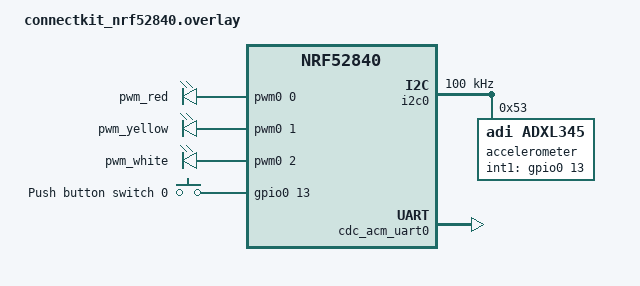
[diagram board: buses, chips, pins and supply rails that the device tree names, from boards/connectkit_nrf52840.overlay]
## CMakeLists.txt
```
# SPDX-License-Identifier: Apache-2.0

cmake_minimum_required(VERSION 3.20.0)
find_package(Zephyr REQUIRED HINTS $ENV{ZEPHYR_BASE})
project(iso_receive)

target_sources(app PRIVATE
    src/main.c
    src/ble.c
    src/led.c
    src/accel.c
)
```

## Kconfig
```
# Copyright (c) 2023 Nordic Semiconductor ASA
# SPDX-License-Identifier: Apache-2.0

source "Kconfig.zephyr"

mainmenu "Bluetooth: ISO Receive"

config ISO_ALIGN_PRINT_INTERVALS
	bool "Align report interval with incoming packets"
	help
	  Align interval-counter with packet number from incoming ISO packets.
	  This may be needed if report printouts are to be synchronized between
	  the iso_broadcast sample and the iso_receive sample.

config TTL_SHUTDOWN_TIMEOUT_SEC
	int "Shutdown timeout in seconds"
	default 600
	help
	  Define the shutdown timeout interval in seconds

config TTL_STATE_PRINT_INTERVAL
	int "Interval between each packet report in ISO packets"
	range 1 1000
	default 100
	help
	  Only print the ttl state report after each N packet.
```

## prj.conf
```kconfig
# enable logging
CONFIG_LOG=y
CONFIG_LOG_BUFFER_SIZE=4096

# enable BLE with extended periodic observer
CONFIG_BT=y
CONFIG_BT_DEVICE_NAME="TTL Receiver"
CONFIG_BT_ISO_SYNC_RECEIVER=y
CONFIG_BT_ISO_MAX_CHAN=1

# Configuration for LED PWM solution
CONFIG_GPIO=y
CONFIG_PWM=y
CONFIG_PWM_LOG_LEVEL_DBG=y

# Enable power management, shutdown, and reboot
CONFIG_PM_DEVICE=y
CONFIG_POWEROFF=y
CONFIG_REBOOT=y

# Configuration the shutdown timeout
CONFIG_TTL_SHUTDOWN_TIMEOUT_SEC=10
CONFIG_TTL_STATE_PRINT_INTERVAL= 50
```

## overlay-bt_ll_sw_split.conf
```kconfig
CONFIG_BT_CTLR_SYNC_ISO=y
CONFIG_BT_CTLR_SYNC_ISO_PDU_LEN_MAX=251
CONFIG_BT_CTLR_SYNC_ISO_STREAM_MAX=1
CONFIG_BT_CTLR_ISOAL_SINKS=1
```

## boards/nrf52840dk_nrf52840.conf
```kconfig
#https://devzone.nordicsemi.com/f/nordic-q-a/80835/how-to-configure-low-frequency-external-source-in-zephyr
# activate for the internal RC oscillator
CONFIG_CLOCK_CONTROL_NRF_K32SRC_RC=y
CONFIG_CLOCK_CONTROL_NRF_K32SRC_RC_CALIBRATION=y
CONFIG_CLOCK_CONTROL_NRF_K32SRC_500PPM=q

# activate the external crystal
#CONFIG_CLOCK_CONTROL_NRF_K32SRC_XTAL=y
#CONFIG_CLOCK_CONTROL_NRF_K32SRC_20PPM=y
```

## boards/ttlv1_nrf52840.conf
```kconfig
#CONFIG_CLOCK_CONTROL_NRF_K32SRC_RC=y

#https://devzone.nordicsemi.com/f/nordic-q-a/80835/how-to-configure-low-frequency-external-source-in-zephyr
```

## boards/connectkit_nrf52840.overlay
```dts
/*
 * Copyright (c) 2016-2023 Makerdiary
 *
 * SPDX-License-Identifier: Apache-2.0
 */

// remove existing pwm LEDs dt configuration
/ {
	aliases {
		/delete-property/ sw0;
		/delete-property/ mcuboot-button0;
		/delete-property/ mcuboot-led0;

		/delete-property/ led0;
		/delete-property/ led1;
		/delete-property/ led2;
		/delete-property/ led3;
		/delete-property/ led0-green;
		/delete-property/ led1-red;
		/delete-property/ led1-green;
		/delete-property/ led1-blue;
		/delete-property/ pwm-led0;
		/delete-property/ pwm-led1;
		/delete-property/ pwm-led2;
		/delete-property/ pwm-led3;
		/delete-property/ red-pwm-led;
		/delete-property/ green-pwm-led;
		/delete-property/ blue-pwm-led;
	};
	/delete-node/ pwmleds;
	/delete-node/ buttons;
};

// create new configuration
/ {
	pwmleds {
		compatible = "pwm-leds";
		pwm_red: pwm_led0 {
			pwms = <&pwm0 0 PWM_SEC(1) PWM_POLARITY_NORMAL>;
		};
		pwm_yellow: pwm_led1 {
			pwms = <&pwm0 1 PWM_SEC(1) PWM_POLARITY_NORMAL>;
		};
		pwm_white: pwm_led2 {
			pwms = <&pwm0 2 PWM_SEC(1) PWM_POLARITY_NORMAL>;
		};
	};
};	

&pwm0_default {
	// use GPIO pins which are also available on the DONGLE
	group1 {
		psels = 
			<NRF_PSEL(PWM_OUT0, 0, 6)>, 
			<NRF_PSEL(PWM_OUT1, 0, 7)>,
			<NRF_PSEL(PWM_OUT2, 0, 8)>;
		
		// remove nordic,invert property,
		// otherwise the GPIO will be high if the PWM is disconnected
		/delete-property/ nordic,invert;
	};
};


/* 
 * ADXL345 on I2C
 * We use the alternative 7-bit I2C address: 0x53
 * Furthermore, we use the following pins for I2C
 *   - SCL: P0.22
 *   - SDA: P0.24
*/
&i2c0 {
	status = "okay";
	clock-frequency = <I2C_BITRATE_STANDARD>;
	accelerometer: adxl345@53 {
		compatible="adi,adxl345";
		reg=<0x53>;
		frequency=<100>;
		range=<16>;
		fifo=<0>;
		int1-gpios=<&gpio0 13 GPIO_ACTIVE_HIGH>;
	};
};

&i2c0_default {
	group1 {
		psels = <NRF_PSEL(TWIM_SCL, 0, 15)>,
				<NRF_PSEL(TWIM_SDA, 0, 16)>;
	};
};

/ {
		buttons {
		compatible = "gpio-keys";
		reboot_pin: reboot_pin {
			gpios = < &gpio0 13 (GPIO_PULL_DOWN | GPIO_ACTIVE_HIGH)>;
			label = "Push button switch 0";
		};
	};
};

/ {
  chosen {
      zephyr,console = &cdc_acm_uart0;
  };
};

&zephyr_udc0 {
  cdc_acm_uart0: cdc_acm_uart0 {
      compatible = "zephyr,cdc-acm-uart";
  };
};

// use low power mode (PFM) of regulator
// change regulator GPIO polarity to active low (0 = active high, 1 = active low)
//&tps63802_force_pwm_mode {
//    enable-gpios = <&gpio1 13 GPIO_ACTIVE_LOW>;
//};
```

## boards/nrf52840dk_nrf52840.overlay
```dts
/*
 * Copyright (c) 2019, Nordic Semiconductor ASA
 *
 * SPDX-License-Identifier: Apache-2.0
 */

// remove existing pwm LEDs dt configuration
// remove buttons to avoid interference 
/ {
	aliases {
		/delete-property/ pwm-led0;		
		/delete-property/ sw0;
		/delete-property/ sw1;
		/delete-property/ sw2;
		/delete-property/ sw3;
		/delete-property/ mcuboot-button0;
	};
	/delete-node/ pwmleds;
	/delete-node/ buttons;
};

// create new configuration
/ {
	pwmleds {
		compatible = "pwm-leds";
		pwm_drive: pwm_led0 {
			pwms = <&pwm0 0 PWM_SEC(1) PWM_POLARITY_NORMAL>;
		};
		pwm_break: pwm_led1 {
			pwms = <&pwm0 1 PWM_SEC(1) PWM_POLARITY_NORMAL>;
		};
		pwm_turn: pwm_led2 {
			pwms = <&pwm0 2 PWM_SEC(1) PWM_POLARITY_NORMAL>;
		};
	};
};	


&pwm0_default {
	// use GPIO pins which are also available on the DONGLE
	group1 {
		psels = 
			<NRF_PSEL(PWM_OUT0, 0, 13)>, 
			<NRF_PSEL(PWM_OUT1, 0, 14)>,
			<NRF_PSEL(PWM_OUT2, 0, 15)>;
		
		// remove nordic,invert property,
		// otherwise the GPIO will be high if the PWM is disconnected
		// /delete-property/ nordic,invert;
	};
};

/ {
		buttons {
		compatible = "gpio-keys";
		reboot_pin: reboot_pin {
			gpios = < &gpio1 0 (GPIO_PULL_DOWN | GPIO_ACTIVE_HIGH)>;
			label = "Push button switch 0";
		};

		booster_pin: booster_pin {
			gpios = < &gpio0 17 (GPIO_PULL_DOWN | GPIO_ACTIVE_HIGH)>;
			label = "Enable booster";
		};
	};
};
```

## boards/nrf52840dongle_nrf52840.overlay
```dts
/*
 * Copyright (c) 2019, Nordic Semiconductor ASA
 *
 * SPDX-License-Identifier: Apache-2.0
 */

// remove existing pwm LEDs dt configuration
/ {
	aliases {
		/delete-property/ pwm-led0;
		/delete-property/ pwm-led1;
		/delete-property/ pwm-led2;
		/delete-property/ red-pwm-led;
		/delete-property/ green-pwm-led;
		/delete-property/ blue-pwm-led;
		/delete-property/ green_pwm_led;
		
		/delete-property/ sw0;
		/delete-property/ sw1;
		/delete-property/ sw2;
		/delete-property/ sw3;
		/delete-property/ mcuboot-button0;
	};
	/delete-node/ pwmleds;
	/delete-node/ buttons;
};

// create new configuration
/ {
	pwmleds {
		compatible = "pwm-leds";
		pwm_red: pwm_led0 {
			pwms = <&pwm0 0 PWM_SEC(1) PWM_POLARITY_NORMAL>;
		};
		pwm_yellow: pwm_led1 {
			pwms = <&pwm0 1 PWM_SEC(1) PWM_POLARITY_NORMAL>;
		};
		pwm_white: pwm_led2 {
			pwms = <&pwm0 2 PWM_SEC(1) PWM_POLARITY_NORMAL>;
		};
	};
};	

&pwm0_default {
	// use GPIO pins which are also available on the DONGLE
	group1 {
		psels = 
			<NRF_PSEL(PWM_OUT0, 1, 10)>, 
			<NRF_PSEL(PWM_OUT1, 1, 13)>,
			<NRF_PSEL(PWM_OUT2, 1, 15)>;
		
		// remove nordic,invert property,
		// otherwise the GPIO will be high if the PWM is disconnected
		/delete-property/ nordic,invert;
	};
};


/* 
 * ADXL345 on I2C
 * We use the alternative 7-bit I2C address: 0x53
 * Furthermore, we use the following pins for I2C
 *   - SCL: P0.22
 *   - SDA: P0.24
*/
&i2c0 {
	status = "okay";
	clock-frequency = <I2C_BITRATE_STANDARD>;
	accelerometer: adxl345@53 {
		compatible="adi,adxl345";
		reg=<0x53>;
		frequency=<100>;
		range=<16>;
		fifo=<0>;
		int1-gpios=<&gpio0 13 GPIO_ACTIVE_HIGH>;
	};
};

&i2c0_default {
	group1 {
		psels = <NRF_PSEL(TWIM_SCL, 0, 22)>,
				<NRF_PSEL(TWIM_SDA, 0, 24)>;
	};
};

/ {
		buttons {
		compatible = "gpio-keys";
		reboot_pin: reboot_pin {
			gpios = < &gpio0 13 (GPIO_PULL_DOWN | GPIO_ACTIVE_HIGH)>;
			label = "Push button switch 0";
		};
	};
};
```

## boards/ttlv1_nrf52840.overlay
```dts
/*
 * Copyright (c) 2019, Nordic Semiconductor ASA
 *
 * SPDX-License-Identifier: Apache-2.0
 */

// remove existing pwm LEDs dt configuration
// remove buttons to avoid interference 
/ {
	aliases {
		/delete-property/ pwm-led0;		
		/delete-property/ sw0;
		/delete-property/ sw1;
		/delete-property/ sw2;
		/delete-property/ sw3;
		/delete-property/ mcuboot-button0;
	};
	/delete-node/ pwmleds;
	/delete-node/ buttons;
};

// create new configuration
/ {
	pwmleds {
		compatible = "pwm-leds";
		pwm_drive: pwm_led0 {
			pwms = <&pwm0 0 PWM_SEC(1) PWM_POLARITY_NORMAL>;
		};
		pwm_break: pwm_led1 {
			pwms = <&pwm0 1 PWM_SEC(1) PWM_POLARITY_NORMAL>;
		};
		pwm_turn: pwm_led2 {
			pwms = <&pwm0 2 PWM_SEC(1) PWM_POLARITY_NORMAL>;
		};
	};
};	

&pwm0_default {
	// use GPIO pins which are also available on the DONGLE
	group1 {
		psels = 
			<NRF_PSEL(PWM_OUT0, 0, 10)>, 
			<NRF_PSEL(PWM_OUT1, 1, 5)>,
			<NRF_PSEL(PWM_OUT2, 1, 6)>;
		
		// remove nordic,invert property,
		// otherwise the GPIO will be high if the PWM is disconnected
		/delete-property/ nordic,invert;
	};
};

// define the reboot/wakeup IO pin
/ {
		buttons {
		compatible = "gpio-keys";
		reboot_pin: reboot_pin {
			gpios = < &gpio0 16 (GPIO_PULL_UP | GPIO_ACTIVE_LOW)>;
			label = "Restart TTL Receiver";
		};

		booster_pin: booster_pin {
			gpios = < &gpio1 1 (GPIO_PULL_DOWN | GPIO_ACTIVE_HIGH)>;
			label = "Enable booster";
		};
	};
};
```

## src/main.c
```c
#include <stdint.h>
#include <zephyr/drivers/gpio.h>
#include <zephyr/drivers/sensor.h>
#include <zephyr/kernel.h>
#include <zephyr/logging/log.h>
#include <zephyr/sys/poweroff.h>
#include <zephyr/sys/reboot.h>

#include "ble.h"
#include "led.h"
#include "ttl.h"

LOG_MODULE_REGISTER(ttl_main, LOG_LEVEL_INF);

/**
 * @brief Reset pin, used by spring resistor to wakeup the boot
 */
static const struct gpio_dt_spec reboot_pin =
    GPIO_DT_SPEC_GET(DT_NODELABEL(reboot_pin), gpios);

/**
 * @brief Reset pin, used by the accelerometer to wakeup the boot
 */
static const struct gpio_dt_spec booster_enable_pin =
    GPIO_DT_SPEC_GET(DT_NODELABEL(booster_pin), gpios);

/**
 * @brief Overwrite ASSERT handler
 * @param reason - The reason for the fatal error
 * @param esf    - Exception context, with details and partial or full register
 *                 state when the error occurred. May in some cases be NULL.
 */
void k_sys_fatal_error_handler(unsigned int reason, const z_arch_esf_t *esf) {
  ARG_UNUSED(esf);
  LOG_ERR("Assert received, reboot system");
  sys_reboot(SYS_REBOOT_COLD);
  CODE_UNREACHABLE; /* LCOV_EXCL_LINE */
}

/**
 * @brief Power down TTL to save energy.
 * This function activates the acceleration monitoring and wakeups the MCU once
 * a movement is recognized.
 */
static int ttl_power_down() {
  int err;

  // stop all components
  ttl_ble_terminate();
  ttl_led_terminate();
  LOG_INF("Shutting down the system");

  // disable booster for leds
  err = gpio_pin_set_dt(&booster_enable_pin, 0);
  if (err < 0) {
    LOG_ERR("Could not enable booster GPIO (%d)\n", err);
    return TTL_ERR;
  }

  // wait some time before shuting down the system
  k_msleep(2000);

  // overwrite gpio interrupt pin config to be a user wakeup pin
  err = gpio_pin_configure_dt(&reboot_pin, GPIO_INPUT);
  if (err < 0) {
    LOG_ERR("Could not configure sw0 GPIO (%d)\n", err);
    return TTL_ERR;
  }

  err = gpio_pin_interrupt_configure_dt(&reboot_pin, GPIO_INT_LEVEL_ACTIVE);
  if (err < 0) {
    LOG_ERR("Could not configure sw0 GPIO interrupt (%d)\n", err);
    return TTL_ERR;
  }

  sys_poweroff();

  return TTL_OK;
}

/**
 * @brief Main function of the TTL receiver
 */
int main(void) {
  ttl_err_t err = 0;
  int64_t last_packet_time_ms;
  int64_t elapsed_time_ms;

  LOG_INF("Starting TTLight Controller\n");

  err = ttl_ble_init();
  if (TTL_OK != err) {
    LOG_ERR("Failed to initialize the TTLight BLE stack\n");
    return TTL_ERR;
  }
  LOG_INF("Initialized TTLight BLE stack properly");

  err = ttl_led_init();
  if (TTL_OK != err) {
    LOG_ERR("Failed to initialize the TTLight GPIO stack\n");
    goto exit;
  }
  ttl_ble_register_cb(ttl_led_upd_status);
  LOG_INF("Initialized TTLight LED stack properly");

  err = ttl_led_run();
  if (TTL_OK != err) {
    LOG_ERR("Failed to start TTLight LED stack");
    return TTL_ERR;
  }
  LOG_INF("Started TTLight LED stack properly");

  err = ttl_ble_run();
  if (TTL_OK != err) {
    LOG_ERR("Failed to start TTLight BLE stack");
    return TTL_ERR;
  }
  LOG_INF("Started TTLight BLE stack properly");

  // enable booster for leds
  err = gpio_pin_configure_dt(&booster_enable_pin, GPIO_OUTPUT);
  if (err < 0) {
    LOG_ERR("Could not configure booster GPIO (%d)\n", err);
    return TTL_ERR;
  }
  err = gpio_pin_set_dt(&booster_enable_pin, 1);
  if (err < 0) {
    LOG_ERR("Could not enable booster GPIO (%d)\n", err);
    return TTL_ERR;
  }

exit:
  while (1) {
    last_packet_time_ms = ttl_ble_latest_packet_datetime_ms();
    elapsed_time_ms = k_uptime_delta(&last_packet_time_ms);
    LOG_INF("Elapsed time(ms): %lld", elapsed_time_ms);
    k_msleep(1000);

    if (elapsed_time_ms > (CONFIG_TTL_SHUTDOWN_TIMEOUT_SEC * 1000)) {
      err = ttl_power_down();
      if (TTL_OK != err) {
        LOG_ERR("Failed to shutdown, let's force a restart of the board");
        k_msleep(2000);
        sys_reboot(SYS_REBOOT_COLD);
      }
    }
  }
  return 0;
}
```

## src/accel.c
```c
#include <zephyr/device.h>
#include <zephyr/logging/log.h>

#include "accel.h"

LOG_MODULE_REGISTER(ttl_accel, LOG_LEVEL_INF);

const struct device *const adx345 = DEVICE_DT_GET(DT_NODELABEL(accelerometer));

static void ttl_accel_active(const struct device *dev,
                             const struct sensor_trigger *trigger) {
  LOG_INF("ACCEL ACTIVE");
}

ttl_err_t ttl_accel_init(void) {
  int rc;
  if (!device_is_ready(adx345)) {
    LOG_ERR("%s: device not ready.\n", adx345->name);
    return TTL_ERR;
  }

  // register active interrupt
  const struct sensor_value active_mg = {.val1 = 29, .val2 = 419950};
  rc = sensor_attr_set(adx345, SENSOR_CHAN_ACCEL_XYZ, SENSOR_ATTR_ACTIVE_THRESH,
                       &active_mg);
  if (0 != rc) {
    LOG_ERR("Failed to set accel active threshold value");
    return TTL_ERR;
  }

  struct sensor_trigger active_trigger;
  active_trigger.type = SENSOR_TRIG_MOTION;
  rc = sensor_trigger_set(adx345, &active_trigger, ttl_accel_active);
  if (0 != rc) {
    LOG_ERR("Failed to activate accel active trigger");
    return TTL_ERR;
  }

  return TTL_OK;
}

ttl_err_t ttl_accel_read(struct sensor_value *val) {
  struct sensor_value accel[3];
  int ret = sensor_sample_fetch(adx345);
  if (ret < 0) {
    LOG_ERR("Failed to fetch accel sensor data\n");
    return TTL_ERR;
  }

  if (!ret) {
    LOG_WRN("No data to sample\n");
    return TTL_OK;
  }

  ret = sensor_channel_get(adx345, SENSOR_CHAN_ACCEL_XYZ, &accel[0]);
  if (ret < 0) {
    LOG_ERR("Failed to read accel sensor data\n");
    return TTL_ERR;
  }

  LOG_INF("AccelData[x: %f, y:%f, z:%f]", sensor_value_to_double(&accel[0]),
          sensor_value_to_double(&accel[1]), sensor_value_to_double(&accel[2]));

  return TTL_OK;
}
```

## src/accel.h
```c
#ifndef ACCEL_H
#define ACCEL_H

#include "ttl.h"
#include <zephyr/drivers/sensor/adxl345.h>

/**
 * @brief Enable the TTLight accel stack
 * @return TTL_OK on success, else some error code
 */
ttl_err_t ttl_accel_init(void);

/**
 * @brief Read a new sensor value from the accel
 * @param[out] val - read sensor value
 * @return TTL_OK on success, else some error code
 */
ttl_err_t ttl_accel_read(struct sensor_value *val);

#endif
```

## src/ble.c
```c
/*
 * Copyright (c) 2021 Nordic Semiconductor ASA
 *
 * SPDX-License-Identifier: Apache-2.0
 */

#include <sys/types.h>
#include <zephyr/bluetooth/bluetooth.h>
#include <zephyr/bluetooth/conn.h>
#include <zephyr/bluetooth/iso.h>
#include <zephyr/device.h>
#include <zephyr/devicetree.h>
#include <zephyr/logging/log.h>
#include <zephyr/sys/byteorder.h>

#include "ttl.h"
#include "zephyr/kernel.h"

LOG_MODULE_REGISTER(ttl_ble, LOG_LEVEL_INF);

// ttl ble thread objects
#define TTL_BLE_STACK_SIZE (2048)
static K_KERNEL_STACK_DEFINE(ttl_ble_thread_stack, TTL_BLE_STACK_SIZE);
static struct k_thread ttl_ble_thread_data;

static ttl_upd_state_cb_t ttl_upd_state_cb;
static int64_t ttl_iso_last_datetime;
static bool ttl_iso_connected;
#define TIMEOUT_SYNC_CREATE K_SECONDS(10)
#define NAME_LEN 30

#define BT_LE_SCAN_CUSTOM                                                      \
  BT_LE_SCAN_PARAM(BT_LE_SCAN_TYPE_ACTIVE, BT_LE_SCAN_OPT_NONE,                \
                   BT_GAP_SCAN_FAST_INTERVAL, BT_GAP_SCAN_FAST_WINDOW)

#define PA_RETRY_COUNT 6
#define BIS_ISO_CHAN_COUNT 1

static bool per_adv_found;
static bool per_adv_lost;
static bt_addr_le_t per_addr;
static uint8_t per_sid;
static uint32_t per_interval_us;

static uint32_t iso_recv_count;

static K_SEM_DEFINE(sem_per_adv, 0, 1);
static K_SEM_DEFINE(sem_per_sync, 0, 1);
static K_SEM_DEFINE(sem_per_sync_lost, 0, 1);
static K_SEM_DEFINE(sem_per_big_info, 0, 1);
static K_SEM_DEFINE(sem_big_sync, 0, BIS_ISO_CHAN_COUNT);
static K_SEM_DEFINE(sem_big_sync_lost, 0, BIS_ISO_CHAN_COUNT);

static bool data_cb(struct bt_data *data, void *user_data) {
  char *name = user_data;
  uint8_t len;

  switch (data->type) {
  case BT_DATA_NAME_SHORTENED:
  case BT_DATA_NAME_COMPLETE:
    len = MIN(data->data_len, NAME_LEN - 1);
    memcpy(name, data->data, len);
    name[len] = '\0';
    return false;
  default:
    return true;
  }
}

static const char *phy2str(uint8_t phy) {
  switch (phy) {
  case 0:
    return "No packets";
  case BT_GAP_LE_PHY_1M:
    return "LE 1M";
  case BT_GAP_LE_PHY_2M:
    return "LE 2M";
  case BT_GAP_LE_PHY_CODED:
    return "LE Coded";
  default:
    return "Unknown";
  }
}

static void scan_recv(const struct bt_le_scan_recv_info *info,
                      struct net_buf_simple *buf) {
  char le_addr[BT_ADDR_LE_STR_LEN];
  char name[NAME_LEN];

  (void)memset(name, 0, sizeof(name));

  bt_data_parse(buf, data_cb, name);

  bt_addr_le_to_str(info->addr, le_addr, sizeof(le_addr));
  LOG_DBG("[DEVICE]: %s, AD evt type %u, Tx Pwr: %i, RSSI %i %s "
          "C:%u S:%u D:%u SR:%u E:%u Prim: %s, Secn: %s, "
          "Interval: 0x%04x (%u us), SID: %u",
          le_addr, info->adv_type, info->tx_power, info->rssi, name,
          (info->adv_props & BT_GAP_ADV_PROP_CONNECTABLE) != 0,
          (info->adv_props & BT_GAP_ADV_PROP_SCANNABLE) != 0,
          (info->adv_props & BT_GAP_ADV_PROP_DIRECTED) != 0,
          (info->adv_props & BT_GAP_ADV_PROP_SCAN_RESPONSE) != 0,
          (info->adv_props & BT_GAP_ADV_PROP_EXT_ADV) != 0,
          phy2str(info->primary_phy), phy2str(info->secondary_phy),
          info->interval, BT_CONN_INTERVAL_TO_US(info->interval), info->sid);

  if (!per_adv_found && info->interval) {
    per_adv_found = true;

    per_sid = info->sid;
    per_interval_us = BT_CONN_INTERVAL_TO_US(info->interval);
    bt_addr_le_copy(&per_addr, info->addr);

    k_sem_give(&sem_per_adv);
  }
}

static struct bt_le_scan_cb scan_callbacks = {
    .recv = scan_recv,
};

static void sync_cb(struct bt_le_per_adv_sync *sync,
                    struct bt_le_per_adv_sync_synced_info *info) {
  char le_addr[BT_ADDR_LE_STR_LEN];

  bt_addr_le_to_str(info->addr, le_addr, sizeof(le_addr));

  LOG_INF("PER_ADV_SYNC[%u]: [DEVICE]: %s synced, "
          "Interval 0x%04x (%u ms), PHY %s",
          bt_le_per_adv_sync_get_index(sync), le_addr, info->interval,
          info->interval * 5 / 4, phy2str(info->phy));

  k_sem_give(&sem_per_sync);
}

static void term_cb(struct bt_le_per_adv_sync *sync,
                    const struct bt_le_per_adv_sync_term_info *info) {
  char le_addr[BT_ADDR_LE_STR_LEN];

  bt_addr_le_to_str(info->addr, le_addr, sizeof(le_addr));

  LOG_INF("PER_ADV_SYNC[%u]: [DEVICE]: %s sync terminated",
          bt_le_per_adv_sync_get_index(sync), le_addr);

  per_adv_lost = true;
  k_sem_give(&sem_per_sync_lost);
}

static void recv_cb(struct bt_le_per_adv_sync *sync,
                    const struct bt_le_per_adv_sync_recv_info *info,
                    struct net_buf_simple *buf) {
  char le_addr[BT_ADDR_LE_STR_LEN];
  char data_str[129];

  bt_addr_le_to_str(info->addr, le_addr, sizeof(le_addr));
  bin2hex(buf->data, buf->len, data_str, sizeof(data_str));

  LOG_INF("PER_ADV_SYNC[%u]: [DEVICE]: %s, tx_power %i, "
          "RSSI %i, CTE %u, data length %u, data: %s",
          bt_le_per_adv_sync_get_index(sync), le_addr, info->tx_power,
          info->rssi, info->cte_type, buf->len, data_str);
}

static void biginfo_cb(struct bt_le_per_adv_sync *sync,
                       const struct bt_iso_biginfo *biginfo) {
  char le_addr[BT_ADDR_LE_STR_LEN];

  bt_addr_le_to_str(biginfo->addr, le_addr, sizeof(le_addr));

  LOG_INF("BIG INFO[%u]: [DEVICE]: %s, sid 0x%02x, "
          "num_bis %u, nse %u, interval 0x%04x (%u ms), "
          "bn %u, pto %u, irc %u, max_pdu %u, "
          "sdu_interval %u us, max_sdu %u, phy %s, "
          "%s framing, %sencrypted",
          bt_le_per_adv_sync_get_index(sync), le_addr, biginfo->sid,
          biginfo->num_bis, biginfo->sub_evt_count, biginfo->iso_interval,
          (biginfo->iso_interval * 5 / 4), biginfo->burst_number,
          biginfo->offset, biginfo->rep_count, biginfo->max_pdu,
          biginfo->sdu_interval, biginfo->max_sdu, phy2str(biginfo->phy),
          biginfo->framing ? "with" : "without",
          biginfo->encryption ? "" : "not ");

  k_sem_give(&sem_per_big_info);
}

static struct bt_le_per_adv_sync_cb sync_callbacks = {
    .synced = sync_cb,
    .term = term_cb,
    .recv = recv_cb,
    .biginfo = biginfo_cb,
};

/**
 * @brief Callback function once ISO data has been received via BLE
 */
static void iso_recv(struct bt_iso_chan *chan,
                     const struct bt_iso_recv_info *info, struct net_buf *buf) {
  ttl_state_t state; /* only valid if the data is a counter */
  // LOG_INF(">>> Received some data on ISO channel %p with size: %u", chan, buf->len);

  if (buf->len == sizeof(state)) {
    state.entire = sys_get_le32(buf->data);

    if ((iso_recv_count % CONFIG_TTL_STATE_PRINT_INTERVAL) == 0) {
      LOG_INF("Incoming data channel %p flags 0x%x seq_num %u ts %u len %u "
              "data: %x",
              chan, info->flags, info->seq_num, info->ts, buf->len,
              state.entire);
      PRINT_TTL_STATE(state);
    }

    // execute update state callback if set
    if (ttl_upd_state_cb) {
      (*ttl_upd_state_cb)(state);
    }
    // update last received datetime
    ttl_iso_last_datetime = k_uptime_get();
  }
  iso_recv_count++;
}

static void iso_connected(struct bt_iso_chan *chan) {
  LOG_INF("ISO Channel %p connected", chan);
  ttl_iso_connected = true;
  k_sem_give(&sem_big_sync);
}

static void iso_disconnected(struct bt_iso_chan *chan, uint8_t reason) {
  LOG_INF("ISO Channel %p disconnected with reason 0x%02x", chan, reason);
  if (reason != BT_HCI_ERR_OP_CANCELLED_BY_HOST) {
    ttl_iso_connected = false;
    k_sem_give(&sem_big_sync_lost);
  }
}

static struct bt_iso_chan_ops iso_ops = {
    .recv = iso_recv,
    .connected = iso_connected,
    .disconnected = iso_disconnected,
};

static struct bt_iso_chan_io_qos iso_rx_qos[BIS_ISO_CHAN_COUNT];

static struct bt_iso_chan_qos bis_iso_qos[] = {
    {
        .rx = &iso_rx_qos[0],
    },
};

static struct bt_iso_chan bis_iso_chan[] = {{
    .ops = &iso_ops,
    .qos = &bis_iso_qos[0],
}};

static struct bt_iso_chan *bis[] = {
    &bis_iso_chan[0],
};

static struct bt_iso_big_sync_param big_sync_param = {
    .bis_channels = bis,
    .num_bis = BIS_ISO_CHAN_COUNT,
    .bis_bitfield = (BIT_MASK(BIS_ISO_CHAN_COUNT)),
    .mse = BT_ISO_SYNC_MSE_ANY, /* any number of subevents */
    .sync_timeout = 100,        /* in 10 ms units */
};

static void reset_semaphores(void) {
  k_sem_reset(&sem_per_adv);
  k_sem_reset(&sem_per_sync);
  k_sem_reset(&sem_per_sync_lost);
  k_sem_reset(&sem_per_big_info);
  k_sem_reset(&sem_big_sync);
  k_sem_reset(&sem_big_sync_lost);
}

/**
 * @brief Main TTL BLE thread loop
 */
void ttl_ble_thread_main() {
  struct bt_le_per_adv_sync_param sync_create_param;
  struct bt_le_per_adv_sync *sync;
  struct bt_iso_big *big;
  uint32_t sem_timeout_us;
  int err;

  iso_recv_count = 0;

  LOG_INF("Starting Synchronized Receiver Demo");

  /* Initialize the Bluetooth Subsystem */
  err = bt_enable(NULL);
  if (err) {
    LOG_INF("Bluetooth init failed (err %d)", err);
    return;
  }

  LOG_INF("Scan callbacks register...");
  bt_le_scan_cb_register(&scan_callbacks);
  LOG_INF("success.");

  LOG_INF("Periodic Advertising callbacks register...");
  bt_le_per_adv_sync_cb_register(&sync_callbacks);
  LOG_INF("Success.");

  do {
    reset_semaphores();
    per_adv_lost = false;

    LOG_INF("Start scanning...");
    err = bt_le_scan_start(BT_LE_SCAN_CUSTOM, NULL);
    if (err) {
      LOG_INF("failed (err %d)", err);
      return;
    }
    LOG_INF("success.");

    LOG_INF("Waiting for periodic advertising...");
    per_adv_found = false;
    err = k_sem_take(&sem_per_adv, K_FOREVER);
    if (err) {
      LOG_INF("failed (err %d)", err);
      return;
    }
    LOG_INF("Found periodic advertising.");

    LOG_INF("Stop scanning...");
    err = bt_le_scan_stop();
    if (err) {
      LOG_INF("failed (err %d)", err);
      return;
    }
    LOG_INF("success.");

    LOG_INF("Creating Periodic Advertising Sync...");
    bt_addr_le_copy(&sync_create_param.addr, &per_addr);
    sync_create_param.options = 0;
    sync_create_param.sid = per_sid;
    sync_create_param.skip = 0;
    /* Multiple PA interval with retry count and convert to unit of 10 ms */
    sync_create_param.timeout =
        (per_interval_us * PA_RETRY_COUNT) / (10 * USEC_PER_MSEC);
    sem_timeout_us = per_interval_us * PA_RETRY_COUNT;
    err = bt_le_per_adv_sync_create(&sync_create_param, &sync);
    if (err) {
      LOG_INF("failed (err %d)", err);
      return;
    }
    LOG_INF("success.");

    LOG_INF("Waiting for periodic sync...");
    err = k_sem_take(&sem_per_sync, K_USEC(sem_timeout_us));
    if (err) {
      LOG_INF("failed (err %d)", err);

      LOG_INF("Deleting Periodic Advertising Sync...");
      err = bt_le_per_adv_sync_delete(sync);
      if (err) {
        LOG_INF("failed (err %d)", err);
        return;
      }
      continue;
    }
    LOG_INF("Periodic sync established.");

    LOG_INF("Waiting for BIG info...");
    err = k_sem_take(&sem_per_big_info, K_USEC(sem_timeout_us));
    if (err) {
      LOG_INF("failed (err %d)", err);

      if (per_adv_lost) {
        continue;
      }

      LOG_INF("Deleting Periodic Advertising Sync...");
      err = bt_le_per_adv_sync_delete(sync);
      if (err) {
        LOG_INF("failed (err %d)", err);
        return;
      }
      continue;
    }
    LOG_INF("Periodic sync established.");

  big_sync_create:
    LOG_INF("Create BIG Sync...");
    err = bt_iso_big_sync(sync, &big_sync_param, &big);
    if (err) {
      LOG_INF("failed (err %d)", err);
      return;
    }
    LOG_INF("success.");

    LOG_INF("Waiting for BIG sync chan ...");
    err = k_sem_take(&sem_big_sync, TIMEOUT_SYNC_CREATE);
    if (err) {
      break;
    }
    LOG_INF("BIG sync chan successful.");
    if (err) {
      LOG_INF("failed (err %d)", err);

      LOG_INF("BIG Sync Terminate...");
      err = bt_iso_big_terminate(big);
      if (err) {
        LOG_INF("failed (err %d)", err);
        return;
      }
      LOG_INF("done.");

      goto per_sync_lost_check;
    }
    LOG_INF("BIG sync established.");

    LOG_INF("Waiting for BIG sync lost chan...");
    err = k_sem_take(&sem_big_sync_lost, K_FOREVER);
    if (err) {
      LOG_INF("failed (err %d)", err);
      return;
    }
    LOG_INF("BIG sync lost.");

  per_sync_lost_check:
    LOG_INF("Check for periodic sync lost...");
    err = k_sem_take(&sem_per_sync_lost, K_NO_WAIT);
    if (err) {
      /* Periodic Sync active, go back to creating BIG Sync */
      goto big_sync_create;
    }
    LOG_INF("Periodic sync lost.");
  } while (true);

  return;
}

ttl_err_t ttl_ble_init(void) {
  ttl_upd_state_cb = NULL;
  ttl_iso_connected = false;
  return TTL_OK;
}

ttl_err_t ttl_ble_run(void) {
  ttl_iso_last_datetime = k_uptime_get();

  /* Start a thread to offload disk ops */
  k_thread_create(&ttl_ble_thread_data, ttl_ble_thread_stack,
                  TTL_BLE_STACK_SIZE, (k_thread_entry_t)ttl_ble_thread_main,
                  NULL, NULL, NULL, -5, 0, K_NO_WAIT);
  k_thread_name_set(&ttl_ble_thread_data, "ttl_ble_worker");

  return TTL_OK;
}

ttl_err_t ttl_ble_terminate(void) {
  ttl_err_t ret = TTL_OK;

  // TODO(akarner): not sure if we can kill it like this
  ret = bt_disable();
  if (ret != TTL_OK) {
    return TTL_ERR;
  }

  return TTL_OK;
}
void ttl_ble_register_cb(ttl_upd_state_cb_t cb) {
  if (cb) {
    ttl_upd_state_cb = cb;
  }
}

bool ttl_ble_is_connected(void) { return ttl_iso_connected; }
int64_t ttl_ble_latest_packet_datetime_ms(void) {
  return ttl_iso_last_datetime;
}
```

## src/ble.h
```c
#ifndef BLE_H
#define BLE_H

#include "ttl.h"
#include <stdbool.h>
#include <sys/types.h>

/**
 * @brief Initiate TTL BLE module.
 *
 * @return #ttl_err_t
 */
ttl_err_t ttl_ble_init(void);

/**
 * @brief Run the TTLight BLE logic.
 * This includes spawning a new thread, enabling BLE, creating an ISO channel
 * and sending the current ttl state. The ttl state can be updated via function
 * #ttl_ble_upd_status.
 *
 * @return #ttl_err_t
 */
ttl_err_t ttl_ble_run(void);

/**
 * @brief Terminates the TTL BLE module.
 *
 * @return #ttl_err_t
 */
ttl_err_t ttl_ble_terminate(void);

/**
 * @brief Register new callback function, triggered per received data package
 *
 * @param[in] cb - callback to register
 */
void ttl_ble_register_cb(ttl_upd_state_cb_t cb);

/**
 * @brief Query if the ble stack is currently connected to some iso channel
 *
 * @return true if connected else false
 */
bool ttl_ble_is_connected(void);

/**
 * @brief Query the latest received ble iso packet datetime in milliseconds
 * (ms). Please consider that this date will be the thread start time if no iso
 * connection was made yet.
 *
 * @return time_t of last packet received in ms
 */
int64_t ttl_ble_latest_packet_datetime_ms(void);

#endif
```

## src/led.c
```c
#include <zephyr/device.h>
#include <zephyr/kernel.h>
#include <zephyr/logging/log.h>
#include <zephyr/sys/util.h>

#include <haly/nrfy_pwm.h>
#include <nrfx.h>
#include <nrfx_pwm.h>
#include <zephyr/drivers/pwm.h>

#include "led.h"

#define DT_DRV_COMPAT nrf52840dk

LOG_MODULE_REGISTER(ttl_led, LOG_LEVEL_INF);

// ttl gpio thread objects
#define TTL_LED_STACK_SIZE (2048)
static K_KERNEL_STACK_DEFINE(ttl_led_thread_stack, TTL_LED_STACK_SIZE);
static struct k_thread ttl_led_thread_data;

static ttl_state_t ttl_state;

static K_SEM_DEFINE(sem_ttl_state, 1, 1);
static K_SEM_DEFINE(sem_ttl_update, 1, 1);

// PWM LEDs devices
struct ttl_pwm_led_t {
  const struct pwm_dt_spec pwm;
  const uint32_t pwm_periode;
  const uint32_t pwm_duty;
};

enum ttl_pwm_led_idx {
  TTL_PWM_IDX_BREAK = 0,
  TTL_PWM_IDX_DIRPOINTER,
  // TTL_PWM_IDX_REVERSE, // not supported yet
  TTL_PWM_IDX_DRIVE,
};

static struct ttl_pwm_led_t ttl_pwm_leds[] = {
    {.pwm = PWM_DT_SPEC_GET(DT_NODELABEL(pwm_break)),
     .pwm_periode = TTL_PWM_LED_PERIODE,
     .pwm_duty = TTL_PWM_LED_DUTY(100)},
    {.pwm = PWM_DT_SPEC_GET(DT_NODELABEL(pwm_turn)),
     .pwm_periode = TTL_PWM_LED_PERIODE,
     .pwm_duty = TTL_PWM_LED_DUTY(100)},
    {.pwm = PWM_DT_SPEC_GET(DT_NODELABEL(pwm_drive)),
     .pwm_periode = TTL_PWM_LED_PERIODE,
     .pwm_duty = TTL_PWM_LED_DUTY(100)},
};

/*
 * @brief Very nasty functions to connect and disconnect the PWM channels, as
 * explained in the NRF documentation:
 * https://infocenter.nordicsemi.com/topic/ps_nrf52840/pwm.html?cp=5_0_0_5_16_4_22#register.PSEL.OUT-0-3
 * This allows us to disable and enable the PWM signal on the GPIO port without
 * the need to reconfigure the entire PWM instance. However, these hacky
 * functions only work if the first member of the dev->config struct is the
 * nrfx_pwm_t instance. The device config struct is private in the C file, hence
 * we are unable to access its definition. But because the first required
 * information is a the beginning of the config struct we simply access the
 * nrfx_pwm_t directly, because they own the same address in memory.
 */
static void inline ttl_led_connect(struct ttl_pwm_led_t *led) {
  int ret = pwm_set_dt(&led->pwm, led->pwm_periode, led->pwm_duty);
  if (ret) {
    LOG_ERR("Error %d: failed to set pulse width\n", ret);
    return;
  }

  const struct pwm_dt_spec *pwm = &led->pwm;
  nrfx_pwm_t *nrfx_pwm = (nrfx_pwm_t *)pwm->dev->config;
  nrfx_pwm->p_reg->PSEL.OUT[pwm->channel] &= ~(0x1 << PWM_PSEL_OUT_CONNECT_Pos);
}

static void inline ttl_led_disconnect(struct ttl_pwm_led_t *led) {
  const struct pwm_dt_spec *pwm = &led->pwm;
  nrfx_pwm_t *nrfx_pwm = (nrfx_pwm_t *)pwm->dev->config;
  nrfx_pwm->p_reg->PSEL.OUT[pwm->channel] |= (0x1 << PWM_PSEL_OUT_CONNECT_Pos);
}

static void ttl_led_disconnect_all() {
  for (uint8_t idx = 0; idx < ARRAY_SIZE(ttl_pwm_leds); idx++) {
    ttl_led_disconnect(&ttl_pwm_leds[idx]);
  }
}

static int ttl_led_loop() {
  ttl_state_t state;

  while (true) {
    // block until other signals that we have to update our leds
    LOG_INF("Take update sem");
    k_sem_take(&sem_ttl_update, K_FOREVER);

    LOG_INF("Take ttl state sem");
    // fetch new value
    k_sem_take(&sem_ttl_state, K_FOREVER);
    state = ttl_state;
    k_sem_give(&sem_ttl_state);

    LOG_INF("Received trailer light state update to:");
    PRINT_TTL_STATE(state);

    // disconnect all LEDs
    ttl_led_disconnect_all();

    // TODO: add logic to differentiate if this is a right or left light
    if (state.parts.bits.rturn) {
      LOG_INF("Enable DIRECTION LIGHT");
      ttl_led_connect(&ttl_pwm_leds[TTL_PWM_IDX_DIRPOINTER]);
    }
    // TODO: change to a if
    else if (state.parts.bits.breaks) {
      LOG_INF("Enable BREAK LIGHT");
      ttl_led_connect(&ttl_pwm_leds[TTL_PWM_IDX_BREAK]);
      // } else if (state.parts.bits.reverse) {
      //   LOG_INF("Enable REVERSE LIGHT");
      //   ttl_led_connect(&ttl_pwm_leds[TTL_PWM_IDX_REVERSE]);
    } else if (state.parts.bits.ldrive) {
      LOG_INF("Enable DRIVE LIGHT");
      ttl_led_connect(&ttl_pwm_leds[TTL_PWM_IDX_DRIVE]);
    } else {
      LOG_INF("Nothing to enable???");
    }
  }

  return TTL_OK;
}

ttl_err_t ttl_led_init() {
  int ret = TTL_OK;

  LOG_INF("TTLight starts to initiate the GPIO stack");
  for (uint8_t idx = 0; idx < ARRAY_SIZE(ttl_pwm_leds); idx++) {
    ret = device_is_ready(ttl_pwm_leds[idx].pwm.dev);
    if (false == ret) {
      LOG_ERR("PWM LED device is not ready with name: %s and channel: %d",
              ttl_pwm_leds[idx].pwm.dev->name, ttl_pwm_leds[idx].pwm.channel);
      ret = TTL_ERR;
      break;
    }
    LOG_INF("PWM LED device is ready device with name:  %s and channel: %d",
            ttl_pwm_leds[idx].pwm.dev->name, ttl_pwm_leds[idx].pwm.channel);

    ret = pwm_set_dt(&ttl_pwm_leds[idx].pwm, ttl_pwm_leds[idx].pwm_periode,
                     ttl_pwm_leds[idx].pwm_duty);
    if (ret) {
      LOG_ERR("Error %d: failed to set pulse width\n", ret);
      ret = TTL_ERR;
      break;
    }
  }

  if (TTL_OK != ret) {
    LOG_ERR("Failed to initiate the TTLight GPIO stack");
    return ret;
  }
  LOG_INF("TTLight initiated the GPIO stack successfully");

  // init state
  ttl_state.entire = 0;
  ttl_state.parts.bits.rdrive = 1;
  ttl_state.parts.bits.ldrive = 1;

  // ttl_led_disconnect_all();

  return ret;
}

ttl_err_t ttl_led_run() {
  /* Start a thread to offload disk ops */
  k_thread_create(&ttl_led_thread_data, ttl_led_thread_stack,
                  TTL_LED_STACK_SIZE, (k_thread_entry_t)ttl_led_loop, NULL,
                  NULL, NULL, 2, 0, K_NO_WAIT);
  k_thread_name_set(&ttl_led_thread_data, "ttl_ble_worker");

  return TTL_OK;
}

ttl_err_t ttl_led_terminate() {
  // kill the thread
  k_thread_abort(&ttl_led_thread_data);

  // set all LEDs to off
  for (uint8_t idx = 0; idx < ARRAY_SIZE(ttl_pwm_leds); idx++) {
    pwm_set_dt(&ttl_pwm_leds[idx].pwm, ttl_pwm_leds[idx].pwm_periode, 0);
  }
  ttl_led_disconnect_all();

  return TTL_OK;
}

ttl_err_t inline ttl_led_upd_status(ttl_state_t state) {
  if (state.entire != ttl_state.entire) {
    k_sem_take(&sem_ttl_state, K_FOREVER);
    ttl_state = state;
    k_sem_give(&sem_ttl_state);

    // signal led thread to update led state
    k_sem_give(&sem_ttl_update);
  }

  return TTL_OK;
}
```

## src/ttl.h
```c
#ifndef TTL_H
#define TTL_H

#include <stdint.h>

/**
 * @brief TTL error status codes
 */
typedef enum { TTL_OK = 0, TTL_ERR = -1 } ttl_err_t;

/**
 * @brief TTL light state
 */
typedef union {
  uint32_t entire;
  struct __attribute__((__packed__)) {
    uint8_t magic;
    uint8_t reserved;
    struct __attribute__((__packed__)) {
      uint16_t reverse : 1; // ???
      uint16_t breaks : 1;  // rot/54
      uint16_t lturn : 1;   // yellow/L
      uint16_t rturn : 1;   // green/R
      uint16_t ldrive : 1;  // black/58L
      uint16_t rdrive : 1;  // gray/58R
      uint16_t fog : 1;     // blue/54G
      uint16_t reserved : 9;
    } bits;
  } parts;
} ttl_state_t;

/**
 * @brief TTL state update function
 */
typedef ttl_err_t (*ttl_upd_state_cb_t)(ttl_state_t);

/**
 * @brief Helper macro to print passed TTL state
 */
#define PRINT_TTL_STATE(state)                                                 \
  LOG_INF("TTLight State: {magic: 0x%x, breaks: %d, lturn: %d, rturn: %d, "    \
          "reverse: %d, ldrive: %d, rdrive: %d}",                              \
          state.parts.magic, state.parts.bits.breaks, state.parts.bits.lturn,  \
          state.parts.bits.rturn, state.parts.bits.reverse,                    \
          state.parts.bits.ldrive, state.parts.bits.rdrive);

#endif // TTL_H
```
